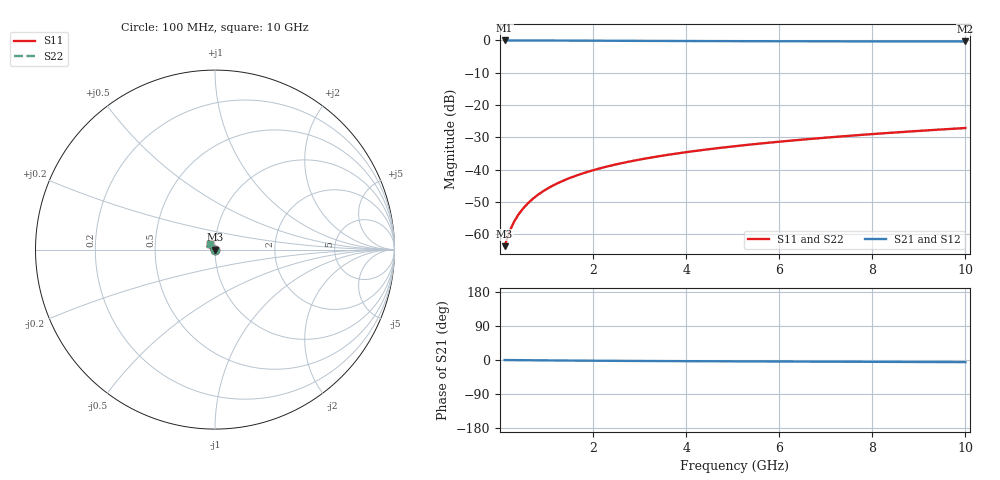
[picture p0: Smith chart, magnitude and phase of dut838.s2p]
! Touchstone file exported from HFSS 2024.1.0
!  File:  C:/UserFiles/LocalFiles/RDL_TSV_Batchsim/temp_TSV1_838_1779879853.aedt
!  Generated:  07:10:18 PM May 27, 2026
!  Design:  TSV1
!  Project:  temp_TSV1_838_1779879853
!  Setup:  Setup1
!  Solution:  Sweep
! Variables:
!  dtsv = 5.71um
!  hbump = 3um
!  htsv = 79.31um
!  lrdl = 252.1521522um
!  p = 40
!  p1 = 59.27um
!  t = 500um
!  trdl = 3um
!  wrdl = 24.89489489um
# GHz S MA R 50.000000
! Terminal data exported
! Port[1] = TSV22_T1
! Port[2] = TSV22_T2
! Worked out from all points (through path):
!   100 points, 100 MHz to 10 GHz, reference 50 ohm
!   highest |S21| = 0.00 dB at 100 MHz (marker M1); lowest = -0.3 dB at 10 GHz (marker M2)
!   lowest |S11| = -63.7 dB at 100 MHz (marker M3), VSWR 1.00, Z = 50 - j0.0519 ohm
!   |S11| at or under -10 dB: start of sweep to end of sweep
!   |S22| runs from -63.7 to -27.1 dB; largest |S21 - S12| = 6.1e-15
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0.1  0.0006565 -52.2  0.9995 -0.1  0.9995 -0.1  0.0006565 -52.2
! Gamma 0 0 0 0
! Port Impedance 50 0 50 0
0.2  0.001083 -72.6  0.9995 -0.2  0.9995 -0.2  0.001083 -72.6
0.3  0.001553 -82.8  0.9993 -0.3  0.9993 -0.3  0.001553 -82.8
0.4  0.002038 -89.6  0.9991 -0.4  0.9991 -0.4  0.002038 -89.6
0.5  0.002528 -94.9  0.9989 -0.5  0.9989 -0.5  0.002528 -94.9
0.6  0.003023 -99.3  0.9986 -0.6  0.9986 -0.6  0.003023 -99.3
0.7  0.003518 -103.2  0.9983 -0.7  0.9983 -0.7  0.003518 -103.2
0.8  0.004014 -106.9  0.9979 -0.8  0.9979 -0.8  0.004014 -106.9
0.9  0.00451 -110.3  0.9975 -0.9  0.9975 -0.9  0.00451 -110.3
1.1  0.005496 -116.6  0.9966 -1.1  0.9966 -1.1  0.005496 -116.6
1.4  0.00696 -125.2  0.995 -1.4  0.995 -1.4  0.00696 -125.2
1.6  0.007922 -130.6  0.9938 -1.6  0.9938 -1.6  0.007922 -130.6
1.8  0.008872 -135.7  0.9926 -1.7  0.9926 -1.7  0.008872 -135.7
2.1  0.01027 -143.0  0.9907 -2.0  0.9907 -2.0  0.01027 -143.0
2.5  0.0121 -151.9  0.9882 -2.2  0.9882 -2.2  0.0121 -151.9
2.9  0.01389 -160.1  0.9857 -2.5  0.9857 -2.5  0.01389 -160.1
3.4  0.01609 -169.2  0.9827 -2.8  0.9827 -2.8  0.01609 -169.2
4.2  0.01952 178.3  0.9786 -3.2  0.9786 -3.2  0.01952 178.3
5.1  0.02333 166.7  0.9749 -3.6  0.9749 -3.6  0.02333 166.7
6.7  0.03007 151.2  0.9701 -4.3  0.9701 -4.3  0.03007 151.2
8.4  0.03728 139.5  0.9666 -5.0  0.9666 -5.0  0.03728 139.5
10  0.04416 131.3  0.9642 -5.7  0.9642 -5.7  0.04416 131.3
